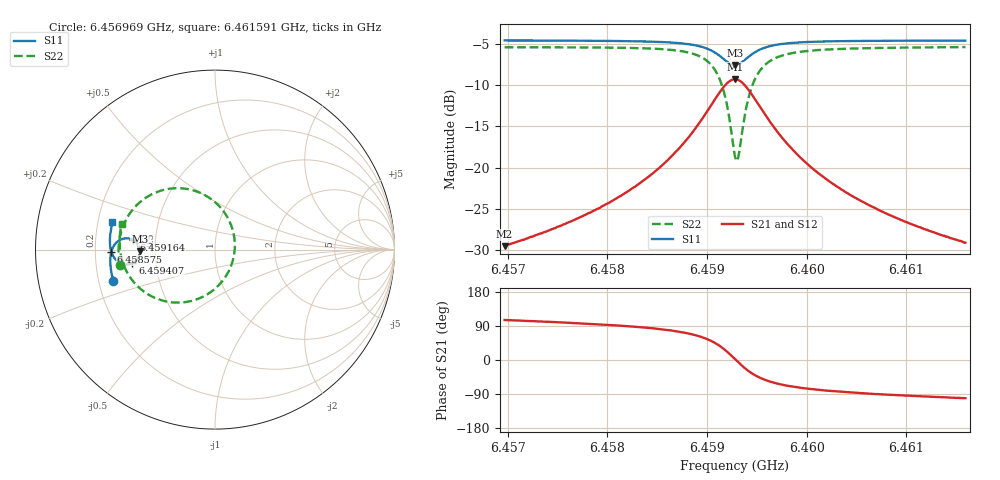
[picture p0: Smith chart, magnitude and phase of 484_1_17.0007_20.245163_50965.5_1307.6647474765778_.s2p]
#  HZ  S  RI  R  50.00
! Rohde & Schwarz Vector Network Analyzer
! Rohde-Schwarz,ZNB20-2Port,1311601062101988,3.16
! Created: UTC 3/20/2024, 11:13:47 PM
! freq[Hz]  re:S11  im:S11  re:S21  im:S21  re:S12  im:S12  re:S22  im:S22
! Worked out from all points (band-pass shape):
!   401 points, 6.456969 GHz to 6.461591 GHz, reference 50 ohm
!   highest |S21| = -9.27 dB at 6.45928 GHz (marker M1); lowest = -29.6 dB at 6.456969 GHz (marker M2)
!   |S21| within 3 dB of the highest: 6.459049 GHz to 6.459511 GHz (461.6 kHz wide, 0.00715 % of centre)
!   lowest |S11| = -7.6 dB at 6.45928 GHz (marker M3), VSWR 2.44, Z = 20.5 - j0.497 ohm
!   |S11| at or under -10 dB: nowhere
!   |S22| runs from -19.2 to -5.4 dB; largest |S21 - S12| = 0.013
!   S11 on the Smith chart (normalised r, x): 6.456969 GHz: 0.26, -0.14; 6.458575 GHz: 0.27, -0.01; 6.459164 GHz: 0.37, +0.05; 6.459407 GHz: 0.37, -0.07; 6.461591 GHz: 0.26, +0.12
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6.4569688e9  -0.5665 -0.1727  -0.0089 0.0321  -0.00719 0.0322  -0.5317 -0.0855
6.4577429e9  -0.5806 -0.1052  -0.00568 0.0502  -0.00313 0.0496  -0.5371 0.00464
6.4581474e9  -0.5836 -0.0649  -0.000238 0.0681  0.0029 0.0668  -0.53 0.0678
6.4585171e9  -0.5798 -0.0211  0.0141 0.0982  0.018 0.0956  -0.5039 0.1497
6.4585749e9  -0.5781 -0.0132  0.0183 0.1052  0.0225 0.102  -0.496 0.1663
6.4587829e9  -0.5652 0.0189  0.0457 0.1373  0.0498 0.1325  -0.4447 0.2388
6.4589331e9  -0.5425 0.0452  0.0908 0.1677  0.0941 0.1612  -0.3616 0.3032
6.4590718e9  -0.499 0.0627  0.1775 0.1843  0.1785 0.1769  -0.203 0.3421
6.4591642e9  -0.4546 0.0527  0.2671 0.1533  0.2674 0.1474  -0.037 0.2922
6.4592104e9  -0.4336 0.0339  0.3106 0.1106  0.3119 0.1054  0.0457 0.2163
6.4592797e9  -0.4188 -0.01  0.3438 0.0142  0.3474 0.00714  0.1104 0.0369
6.4592913e9  -0.4193 -0.018  0.3435 -0.00354  0.3475 -0.0112  0.1101 0.00342
6.4593144e9  -0.4228 -0.0336  0.338 -0.0382  0.3418 -0.0473  0.0989 -0.0621
6.4593606e9  -0.4382 -0.0595  0.3094 -0.0978  0.3119 -0.1096  0.0416 -0.1749
6.4594068e9  -0.4603 -0.0756  0.2677 -0.1386  0.2667 -0.1518  -0.0431 -0.2494
6.4594993e9  -0.5035 -0.0823  0.1832 -0.1698  0.177 -0.1811  -0.2113 -0.2953
6.4596495e9  -0.5471 -0.0619  0.0958 -0.1559  0.0874 -0.162  -0.3781 -0.246
6.4598113e9  -0.5685 -0.0341  0.0512 -0.1281  0.0435 -0.1308  -0.4582 -0.1743
6.4600539e9  -0.581 0.00139  0.0221 -0.0967  0.0163 -0.0972  -0.506 -0.0921
6.4604006e9  -0.5855 0.0425  0.00613 -0.0701  0.00209 -0.0696  -0.5274 -0.0131
6.4608281e9  -0.5835 0.0854  -0.00154 -0.0516  -0.0043 -0.0509  -0.5316 0.0551
6.4615907e9  -0.5712 0.1527  -0.00652 -0.0344  -0.00818 -0.0335  -0.52 0.1449
